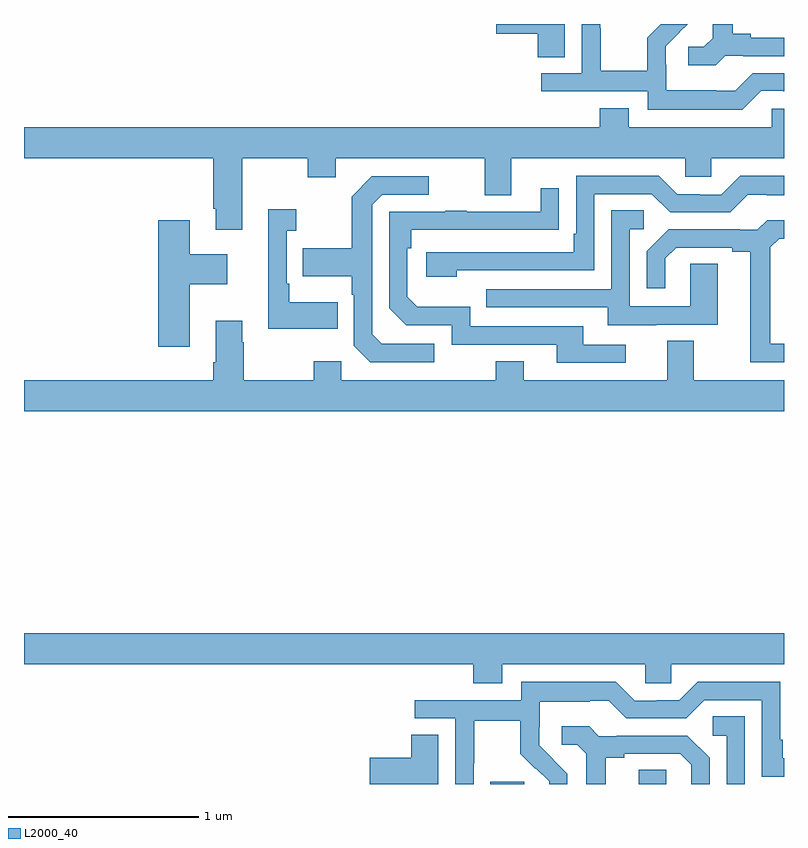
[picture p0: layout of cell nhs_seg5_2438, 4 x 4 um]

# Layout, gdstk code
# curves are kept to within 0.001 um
import gdstk
lib = gdstk.Library(unit=1e-6, precision=1e-09)
def R(c, l, rs):  # rectangles x0, y0, x1, y1
    for r in rs: c.add(gdstk.rectangle(r[:2], r[2:], *l))
def P(c, l, *ps):  # polygons
    for p in ps: c.add(gdstk.Polygon(p, *l))
L2000_40 = (2000, 40)

nhs_seg5_2438 = lib.new_cell('nhs_seg5_2438')
R(nhs_seg5_2438, L2000_40, [(255.455,854.799,255.634,854.811), (256.235,854.799,256.38,854.873)])
P(nhs_seg5_2438, L2000_40, [(256.692,858.633),(256.786,858.633),(256.786,858.63),(257,858.63),(257,858.726),(256.825,858.726),(256.825,858.749),(256.729,858.749),(256.729,858.799),(256.625,858.799),(256.625,858.725),(256.578,858.678),(256.497,858.678),(256.497,858.581),(256.64,858.581)],
  [(255.847,858.799),(255.486,858.799),(255.486,858.749),(255.704,858.749),(255.704,858.625),(255.847,858.625)],
  [(256.881,858.447),(256.997,858.447),(256.997,858.444),(257,858.444),(257,858.54),(256.836,858.54),(256.743,858.447),(256.643,858.447),(256.643,858.451),(256.38,858.451),(256.38,858.585),(256.378,858.585),(256.378,858.682),(256.493,858.799),(256.351,858.799),(256.279,858.727),(256.279,858.553),(256.035,858.553),(256.035,858.776),(256.032,858.776),(256.032,858.799),(255.936,858.799),(255.936,858.54),(255.723,858.54),(255.723,858.444),(256.284,858.444),(256.284,858.347),(256.781,858.347)],
  [(254.149,858.092),(254.494,858.092),(254.494,857.993),(254.641,857.993),(254.641,858.092),(255.425,858.092),(255.425,857.898),(255.565,857.898),(255.565,858.092),(256.479,858.092),(256.479,857.994),(256.617,857.994),(256.617,858.092),(257,858.092),(257,858.354),(256.935,858.354),(256.935,858.256),(256.183,858.256),(256.183,858.355),(256.031,858.355),(256.031,858.256),(253,858.256),(253,858.092),(253.997,858.092),(253.997,857.827),(254.009,857.827),(254.009,857.715),(254.149,857.715)],
  [(255.278,857.502),(256.002,857.502),(256.002,857.904),(256.305,857.904),(256.401,857.808),(256.716,857.808),(256.809,857.901),(256.909,857.901),(256.909,857.897),(257,857.897),(257,858.001),(256.771,858.001),(256.671,857.901),(256.556,857.901),(256.556,857.904),(256.437,857.904),(256.341,858),(255.906,858),(255.906,857.695),(255.893,857.695),(255.893,857.598),(255.117,857.598),(255.117,857.468),(255.278,857.468)],
  [(255.16,857.115),(254.883,857.115),(254.832,857.166),(254.832,857.847),(254.886,857.901),(255.13,857.901),(255.13,857.997),(254.829,857.997),(254.724,857.891),(254.724,857.619),(254.467,857.619),(254.467,857.471),(254.724,857.471),(254.724,857.375),(254.736,857.375),(254.736,857.106),(254.823,857.019),(255.16,857.019)],
  [(256.168,857.112),(255.943,857.112),(255.943,857.208),(255.348,857.208),(255.348,857.311),(255.071,857.311),(255.018,857.364),(255.018,857.618),(255.038,857.618),(255.038,857.715),(255.815,857.716),(255.815,857.935),(255.719,857.935),(255.719,857.811),(255.329,857.811),(255.329,857.816),(255.217,857.816),(255.217,857.811),(254.922,857.811),(254.922,857.304),(255.012,857.214),(255.252,857.214),(255.252,857.112),(255.803,857.112),(255.803,857.016),(256.168,857.016)],
  [(254.651,857.335),(254.395,857.335),(254.395,857.431),(254.382,857.431),(254.382,857.711),(254.434,857.711),(254.434,857.824),(254.285,857.824),(254.285,857.195),(254.651,857.195)],
  [(256.327,857.217),(256.651,857.217),(256.651,857.537),(256.506,857.537),(256.506,857.313),(256.188,857.313),(256.188,857.718),(256.261,857.718),(256.261,857.819),(256.092,857.819),(256.092,857.403),(255.433,857.403),(255.433,857.307),(256.073,857.307),(256.073,857.213),(256.327,857.213)],
  [(253.873,857.429),(254.071,857.429),(254.071,857.587),(253.873,857.587),(253.873,857.767),(253.706,857.767),(253.706,857.1),(253.873,857.1)],
  [(257,857.115),(256.927,857.115),(256.927,857.623),(256.974,857.67),(257,857.67),(257,857.767),(256.912,857.767),(256.86,857.715),(256.766,857.715),(256.766,857.718),(256.394,857.718),(256.278,857.602),(256.278,857.409),(256.375,857.409),(256.375,857.565),(256.432,857.622),(256.727,857.622),(256.727,857.6),(256.823,857.6),(256.823,857.019),(257,857.019)],
  [(257,856.924),(256.525,856.924),(256.525,857.132),(256.385,857.132),(256.385,856.924),(255.631,856.924),(255.631,857.023),(255.484,857.023),(255.484,856.924),(254.67,856.924),(254.67,857.023),(254.524,857.023),(254.524,856.924),(254.157,856.924),(254.157,857.123),(254.149,857.123),(254.149,857.236),(254.009,857.236),(254.009,857.02),(253.997,857.02),(253.997,856.924),(253,856.924),(253,856.76),(257,856.76)],
  [(255.517,855.428),(256.269,855.428),(256.269,855.33),(256.407,855.33),(256.407,855.428),(257,855.428),(257,855.592),(253,855.592),(253,855.428),(255.365,855.428),(255.365,855.329),(255.517,855.329)],
  [(255.366,854.908),(255.369,854.908),(255.369,855.132),(255.613,855.132),(255.613,854.957),(255.69,854.88),(255.693,854.883),(255.764,854.813),(255.764,854.799),(255.858,854.799),(255.858,854.854),(255.712,855.002),(255.712,855.099),(255.714,855.099),(255.714,855.233),(255.977,855.233),(255.977,855.237),(256.077,855.237),(256.17,855.144),(256.485,855.144),(256.581,855.24),(256.884,855.24),(256.884,854.838),(257,854.838),(257,854.934),(256.993,854.934),(256.993,855.031),(256.98,855.031),(256.98,855.336),(256.545,855.336),(256.449,855.24),(256.331,855.24),(256.331,855.237),(256.215,855.237),(256.115,855.337),(255.618,855.337),(255.618,855.24),(255.057,855.24),(255.057,855.144),(255.27,855.144),(255.27,854.799),(255.366,854.799)],
  [(256.794,855.155),(256.626,855.155),(256.626,855.054),(256.698,855.054),(256.698,854.799),(256.794,854.799)],
  [(256.063,854.936),(256.159,854.936),(256.159,854.958),(256.454,854.958),(256.511,854.901),(256.511,854.799),(256.608,854.799),(256.608,854.938),(256.492,855.054),(256.12,855.054),(256.12,855.051),(256.026,855.051),(255.974,855.103),(255.831,855.103),(255.831,855.006),(255.912,855.006),(255.959,854.959),(255.959,854.799),(256.063,854.799)],
  [(255.181,855.059),(255.038,855.059),(255.038,854.936),(254.82,854.936),(254.82,854.799),(255.181,854.799)])

lib.write_gds('nhs_seg5_2438.gds')
